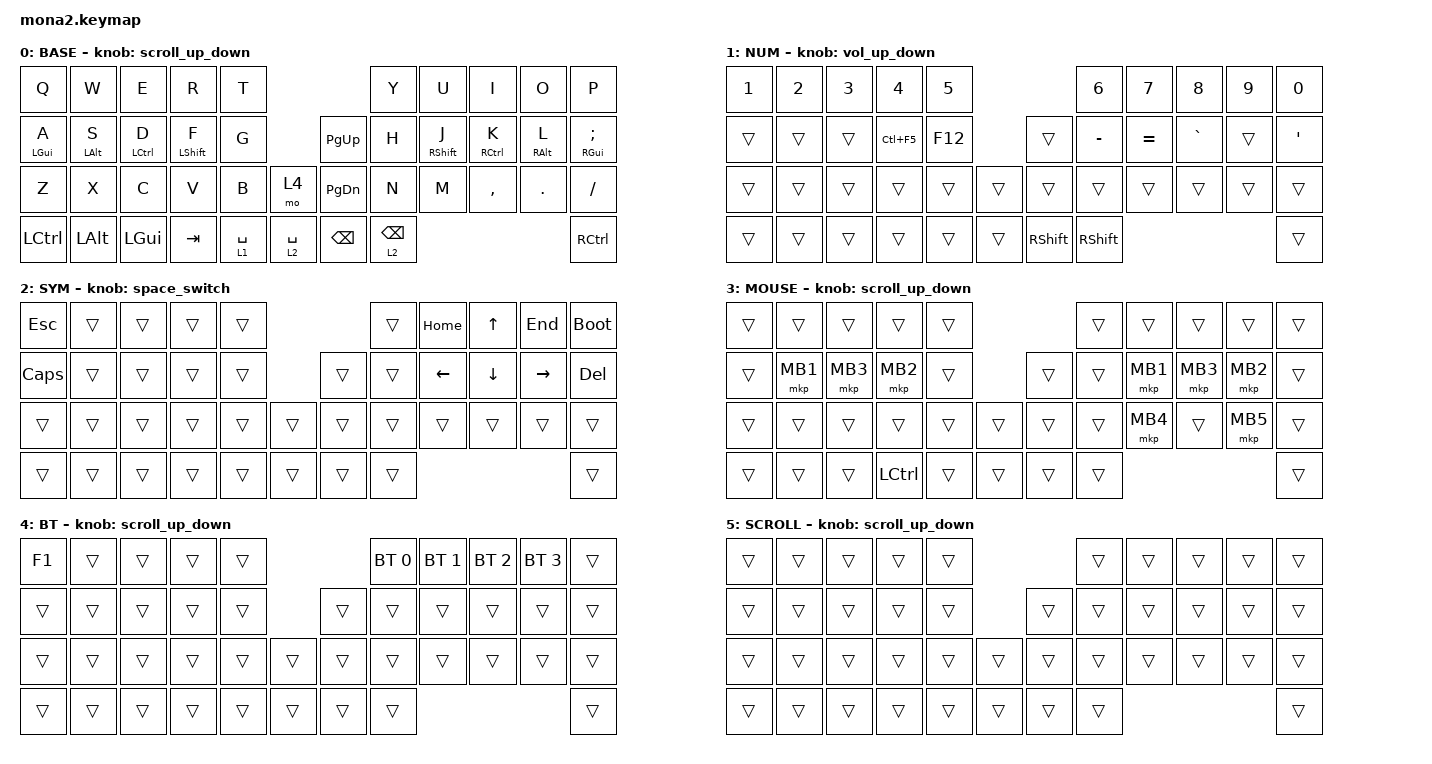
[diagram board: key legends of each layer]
/*
 * SPDX-License-Identifier: MIT
 */

#include <input/processors.dtsi>
#include <dt-bindings/zmk/input_transform.h>
#include <zephyr/dt-bindings/input/input-event-codes.h>
#include <behaviors.dtsi>
#include <dt-bindings/zmk/bt.h>
#include <dt-bindings/zmk/keys.h>
#include <dt-bindings/zmk/pointing.h>

/ {
    combos {
        compatible = "zmk,combos";

        combo1 {
            bindings = <&kp LEFT_BRACKET>;
            key-positions = <2 3>;
        };

        combo2 {
            bindings = <&kp RIGHT_BRACKET>;
            key-positions = <6 7>;
        };

        combo3 {
            bindings = <&kp LEFT_PARENTHESIS>;
            key-positions = <12 13>;
        };

        combo4 {
            bindings = <&kp RIGHT_PARENTHESIS>;
            key-positions = <18 17>;
        };

        combo5 {
            bindings = <&kp LEFT_BRACE>;
            key-positions = <23 24>;
        };

        combo6 {
            bindings = <&kp RIGHT_BRACE>;
            key-positions = <29 30>;
        };

        combo7 {
            bindings = <&kp NON_US_BACKSLASH>;
            key-positions = <4 5>;
        };

        combo8 {
            bindings = <&kp PIPE>;
            key-positions = <14 15>;
        };

        combo9 {
            bindings = <&kp ENTER>;
            key-positions = <19 20>;
        };

        combo10 {
            bindings = <&mo 5>;
            key-positions = <11 12>;
        };
    };

    behaviors {
        hm: hm {
            compatible = "zmk,behavior-hold-tap";
            label = "HM";
            bindings = <&kp>, <&kp>;

            #binding-cells = <2>;
            quick-tap-ms = <180>;
            flavor = "tap-preferred";
            hold-trigger-on-release;
            tapping-term-ms = <300>;
        };

        ltq: ltq {
            compatible = "zmk,behavior-hold-tap";
            label = "LTQ";
            bindings = <&mo>, <&kp>;

            #binding-cells = <2>;
            tapping-term-ms = <200>;
            quick-tap-ms = <180>;
        };

        scroll_up_down: mouse_wheel_up_down {
            compatible = "zmk,behavior-sensor-rotate";
            #sensor-binding-cells = <0>;
            bindings = <&msc MOVE_Y(-200)>, <&msc MOVE_Y(200)>;

            tap-ms = <30>;
        };
    };

    keymap {
        compatible = "zmk,keymap";

        default_layer {
            bindings = <
&kp Q           &kp W           &kp E         &kp R             &kp T                                        &kp Y            &kp U              &kp I        &kp O            &kp P
&hm LEFT_GUI A  &hm LEFT_ALT S  &hm LCTRL D   &hm LEFT_SHIFT F  &kp G                         &kp PAGE_UP    &kp H            &hm RIGHT_SHIFT J  &hm RCTRL K  &hm RIGHT_ALT L  &hm RIGHT_GUI SEMICOLON
&kp Z           &kp X           &kp C         &kp V             &kp B        &mo 4            &kp PAGE_DOWN  &kp N            &kp M              &kp COMMA    &kp PERIOD       &kp SLASH
&kp LCTRL       &kp LALT        &kp LEFT_GUI  &kp TAB           &lt 1 SPACE  &lt 2 SPACE      &kp BACKSPACE  &lt 2 BACKSPACE                                                   &kp RCTRL
            >;

            sensor-bindings = <&scroll_up_down>;
            display-name = "BASE";
        };

        NUM {
            bindings = <
&kp NUMBER_1  &kp NUMBER_2  &kp NUMBER_3  &kp NUMBER_4  &kp N5                                &kp NUMBER_6     &kp N7     &kp N8     &kp N9  &kp N0
&trans        &trans        &trans        &kp LC(F5)    &kp F12              &trans           &kp MINUS        &kp EQUAL  &kp GRAVE  &trans  &kp SQT
&trans        &trans        &trans        &trans        &trans   &trans      &trans           &trans           &trans     &trans     &trans  &trans
&trans        &trans        &trans        &trans        &trans   &trans      &kp RIGHT_SHIFT  &kp RIGHT_SHIFT                                &trans
            >;

            sensor-bindings = <&vol_up_down>;
            display-name = "NUM";
        };

        layer_2 {
            bindings = <
&kp ESC   &trans  &trans  &trans  &trans                      &trans  &kp HOME        &kp UP_ARROW  &kp END    &bootloader
&kp CAPS  &trans  &trans  &trans  &trans              &trans  &trans  &kp LEFT_ARROW  &kp DOWN      &kp RIGHT  &kp DELETE
&trans    &trans  &trans  &trans  &trans  &trans      &trans  &trans  &trans          &trans        &trans     &trans
&trans    &trans  &trans  &trans  &trans  &trans      &trans  &trans                                           &trans
            >;

            sensor-bindings = <&space_switch>;
            display-name = "SYM";
        };

        MOUSE {
            bindings = <
&trans  &trans    &trans    &trans     &trans                      &trans  &trans    &trans    &trans    &trans
&trans  &mkp MB1  &mkp MB3  &mkp MB2   &trans              &trans  &trans  &mkp MB1  &mkp MB3  &mkp MB2  &trans
&trans  &trans    &trans    &trans     &trans  &trans      &trans  &trans  &mkp MB4  &trans    &mkp MB5  &trans
&trans  &trans    &trans    &kp LCTRL  &trans  &trans      &trans  &trans                                &trans
            >;

            sensor-bindings = <&scroll_up_down>;
            display-name = "MOUSE";
        };

        BT {
            bindings = <
&kp F1  &trans  &trans  &trans  &trans                      &bt BT_SEL 0  &bt BT_SEL 1  &bt BT_SEL 2  &bt BT_SEL 3  &trans
&trans  &trans  &trans  &trans  &trans              &trans  &trans        &trans        &trans        &trans        &trans
&trans  &trans  &trans  &trans  &trans  &trans      &trans  &trans        &trans        &trans        &trans        &trans
&trans  &trans  &trans  &trans  &trans  &trans      &trans  &trans                                                  &trans
            >;

            sensor-bindings = <&scroll_up_down>;
            display-name = "BT";
        };

        SCROLL {
            bindings = <
&trans  &trans  &trans  &trans  &trans                      &trans  &trans  &trans  &trans  &trans
&trans  &trans  &trans  &trans  &trans              &trans  &trans  &trans  &trans  &trans  &trans
&trans  &trans  &trans  &trans  &trans  &trans      &trans  &trans  &trans  &trans  &trans  &trans
&trans  &trans  &trans  &trans  &trans  &trans      &trans  &trans                          &trans
            >;

            sensor-bindings = <&scroll_up_down>;
            display-name = "SCROLL";
        };
    };
};

&msc { acceleration-exponent = <0>; time-to-max-speed-ms = <0>; delay-ms = <0>; };

/ {
    behaviors {
        vol_up_down: vol_up_down {
            compatible = "zmk,behavior-sensor-rotate";
            #sensor-binding-cells = <0>;
            bindings = <&kp C_VOL_UP>, <&kp C_VOL_DN>;
            tap-ms = <10>;
        };

        space_switch: space_switch {
            compatible = "zmk,behavior-sensor-rotate";
            #sensor-binding-cells = <0>;
            bindings = <&kp LC(RIGHT)>, <&kp LC(LEFT)>;
            tap-ms = <10>;
        };
    };
};
